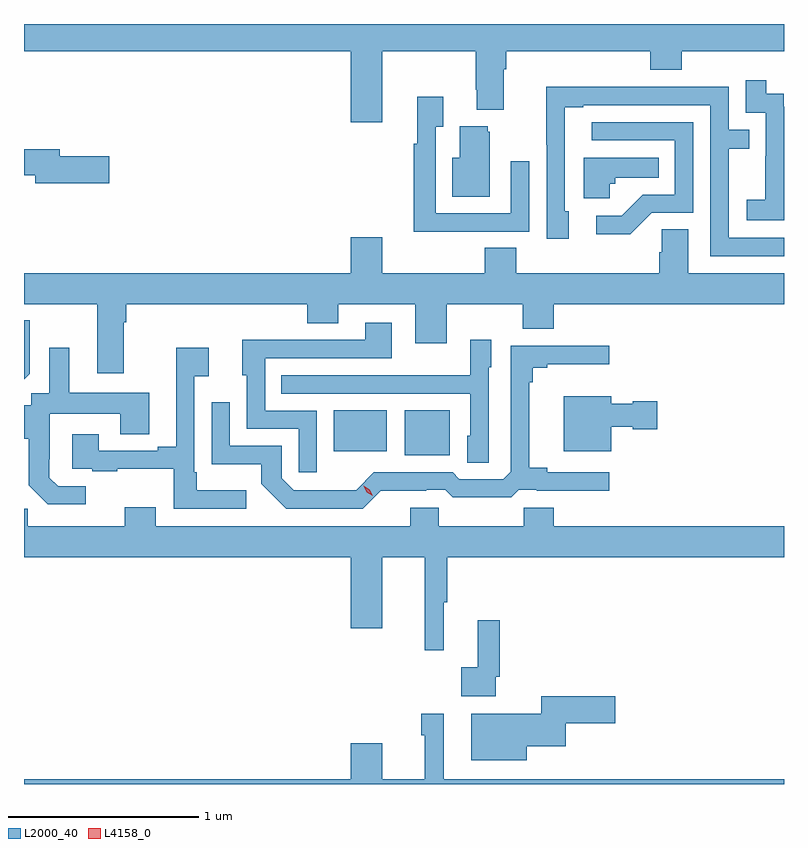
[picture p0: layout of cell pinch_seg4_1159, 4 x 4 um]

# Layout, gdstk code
import gdstk
lib = gdstk.Library(unit=1e-6, precision=1e-09)
def R(c, l, rs):  # rectangles x0, y0, x1, y1
    for r in rs: c.add(gdstk.rectangle(r[:2], r[2:], *l))
def P(c, l, *ps):  # polygons
    for p in ps: c.add(gdstk.Polygon(p, *l))
L2000_40 = (2000, 40)
L4158_0 = (4158, 0)

pinch_seg4_1159 = lib.new_cell('pinch_seg4_1159')
R(pinch_seg4_1159, L2000_40, [(512.942,784.037,513.181,784.273), (512.57,784.058,512.848,784.273)])
P(pinch_seg4_1159, L2000_40, [(510.939,786.164),(512.66,786.164),(512.66,785.79),(512.824,785.79),(512.824,786.164),(513.316,786.164),(513.316,785.962),(513.323,785.962),(513.323,785.855),(513.463,785.855),(513.463,786.068),(513.476,786.068),(513.476,786.164),(514.235,786.164),(514.235,786.065),(514.4,786.065),(514.4,786.164),(514.939,786.164),(514.939,786.307),(510.939,786.307)],
  [(514.939,785.871),(514.938,785.871),(514.938,785.94),(514.846,785.94),(514.846,786.01),(514.737,786.01),(514.737,785.841),(514.842,785.841),(514.842,785.612),(514.841,785.612),(514.841,785.383),(514.743,785.383),(514.743,785.273),(514.939,785.273)],
  [(514.939,785.181),(514.647,785.181),(514.647,785.65),(514.757,785.65),(514.757,785.751),(514.647,785.751),(514.647,785.976),(514.151,785.976),(514.151,785.978),(513.688,785.978),(513.688,785.671),(513.69,785.671),(513.69,785.178),(513.805,785.178),(513.805,785.322),(513.786,785.322),(513.786,785.868),(513.883,785.868),(513.883,785.88),(514.551,785.88),(514.551,785.085),(514.939,785.085)],
  [(513.281,785.214),(513.597,785.214),(513.597,785.584),(513.501,785.584),(513.501,785.31),(513.105,785.31),(513.105,785.767),(513.145,785.767),(513.145,785.923),(513.008,785.923),(513.008,785.678),(512.989,785.678),(512.989,785.213),(513.281,785.213)],
  [(514.242,785.313),(514.461,785.313),(514.461,785.79),(513.927,785.79),(513.927,785.694),(514.365,785.694),(514.365,785.409),(514.196,785.409),(514.085,785.298),(513.951,785.298),(513.951,785.201),(514.129,785.201)],
  [(513.391,785.739),(513.38,785.739),(513.38,785.77),(513.233,785.77),(513.233,785.602),(513.194,785.602),(513.194,785.399),(513.391,785.399)],
  [(511.387,785.612),(511.126,785.612),(511.126,785.648),(510.939,785.648),(510.939,785.512),(510.998,785.512),(510.998,785.47),(511.387,785.47)],
  [(514.023,785.466),(514.05,785.466),(514.05,785.498),(514.28,785.498),(514.28,785.602),(513.884,785.602),(513.884,785.39),(514.023,785.39)],
  [(511.465,784.736),(511.478,784.736),(511.478,784.832),(512.429,784.832),(512.429,784.733),(512.593,784.733),(512.593,784.832),(512.999,784.832),(512.999,784.626),(513.163,784.626),(513.163,784.832),(513.563,784.832),(513.563,784.704),(513.727,784.704),(513.727,784.832),(514.939,784.832),(514.939,784.996),(514.435,784.996),(514.435,785.228),(514.296,785.228),(514.296,785.105),(514.283,785.105),(514.283,784.996),(513.53,784.996),(513.53,785.129),(513.365,785.129),(513.365,784.996),(512.824,784.996),(512.824,785.185),(512.66,785.185),(512.66,784.996),(510.939,784.996),(510.939,784.832),(511.325,784.832),(511.325,784.47),(511.465,784.47)],
  [(510.969,784.467),(510.969,784.747),(510.939,784.747),(510.939,784.438)],
  [(512.481,784.272),(512.208,784.272),(512.208,784.548),(512.875,784.548),(512.875,784.735),(512.735,784.735),(512.735,784.644),(512.305,784.644),(512.305,784.646),(512.087,784.646),(512.087,784.458),(512.112,784.458),(512.112,784.176),(512.385,784.176),(512.385,783.948),(512.481,783.948)],
  [(513.384,784.5),(513.397,784.5),(513.397,784.645),(513.288,784.645),(513.288,784.459),(512.971,784.459),(512.971,784.458),(512.293,784.458),(512.293,784.362),(513.288,784.362),(513.288,784.14),(513.272,784.14),(513.272,783.997),(513.384,783.997)],
  [(512.816,783.851),(513.056,783.851),(513.056,783.855),(513.156,783.855),(513.196,783.816),(513.503,783.816),(513.543,783.855),(513.637,783.855),(513.637,783.851),(514.018,783.851),(514.018,783.948),(513.694,783.948),(513.694,783.971),(513.599,783.971),(513.599,784.421),(513.617,784.421),(513.617,784.498),(513.694,784.498),(513.694,784.517),(514.018,784.517),(514.018,784.614),(513.501,784.614),(513.501,783.951),(513.462,783.912),(513.231,783.912),(513.195,783.948),(512.781,783.948),(512.687,783.854),(512.582,783.854),(512.582,783.852),(512.358,783.852),(512.295,783.915),(512.295,784.086),(512.022,784.086),(512.022,784.315),(511.926,784.315),(511.926,783.989),(512.188,783.989),(512.188,783.887),(512.318,783.756),(512.721,783.756)],
  [(512.11,783.853),(511.849,783.853),(511.849,783.949),(511.836,783.949),(511.836,784.454),(511.912,784.454),(511.912,784.603),(511.739,784.603),(511.739,784.081),(511.643,784.081),(511.643,784.062),(511.333,784.062),(511.333,784.147),(511.193,784.147),(511.193,783.966),(511.297,783.966),(511.297,783.954),(511.429,783.954),(511.429,783.965),(511.728,783.965),(511.728,783.756),(512.11,783.756)],
  [(511.264,783.873),(511.119,783.873),(511.072,783.92),(511.072,784.015),(511.074,784.015),(511.074,784.256),(511.445,784.256),(511.445,784.147),(511.597,784.147),(511.597,784.366),(511.177,784.366),(511.177,784.603),(511.073,784.603),(511.073,784.364),(510.978,784.364),(510.978,784.3),(510.939,784.3),(510.939,784.125),(510.963,784.125),(510.963,783.879),(511.063,783.779),(511.264,783.779)],
  [(514.03,784.187),(514.143,784.187),(514.143,784.175),(514.273,784.175),(514.273,784.322),(514.143,784.322),(514.143,784.309),(514.03,784.309),(514.03,784.348),(513.779,784.348),(513.779,784.058),(514.03,784.058)],
  [(513.149,783.264),(513.167,783.264),(513.167,783.5),(514.939,783.5),(514.939,783.664),(513.728,783.664),(513.728,783.762),(513.568,783.762),(513.568,783.664),(513.123,783.664),(513.123,783.762),(512.972,783.762),(512.972,783.664),(511.633,783.664),(511.633,783.763),(511.469,783.763),(511.469,783.664),(510.959,783.664),(510.959,783.755),(510.939,783.755),(510.939,783.5),(512.66,783.5),(512.66,783.126),(512.824,783.126),(512.824,783.5),(513.049,783.5),(513.049,783.012),(513.149,783.012)],
  [(513.423,782.872),(513.443,782.872),(513.443,783.169),(513.326,783.169),(513.326,782.921),(513.24,782.921),(513.24,782.768),(513.423,782.768)],
  [(513.586,782.507),(513.79,782.507),(513.79,782.626),(514.051,782.626),(514.051,782.768),(513.662,782.768),(513.662,782.677),(513.293,782.677),(513.293,782.432),(513.586,782.432)],
  [(514.939,782.332),(513.148,782.332),(513.148,782.677),(513.031,782.677),(513.031,782.564),(513.049,782.564),(513.049,782.332),(512.824,782.332),(512.824,782.521),(512.66,782.521),(512.66,782.332),(510.939,782.332),(510.939,782.307),(514.939,782.307)])
P(pinch_seg4_1159, L4158_0, [(512.774,783.823),(512.743,783.843),(512.726,783.877),(512.726,783.877),(512.726,783.877),(512.758,783.857),(512.774,783.823),(512.774,783.823)])

lib.write_gds('pinch_seg4_1159.gds')
